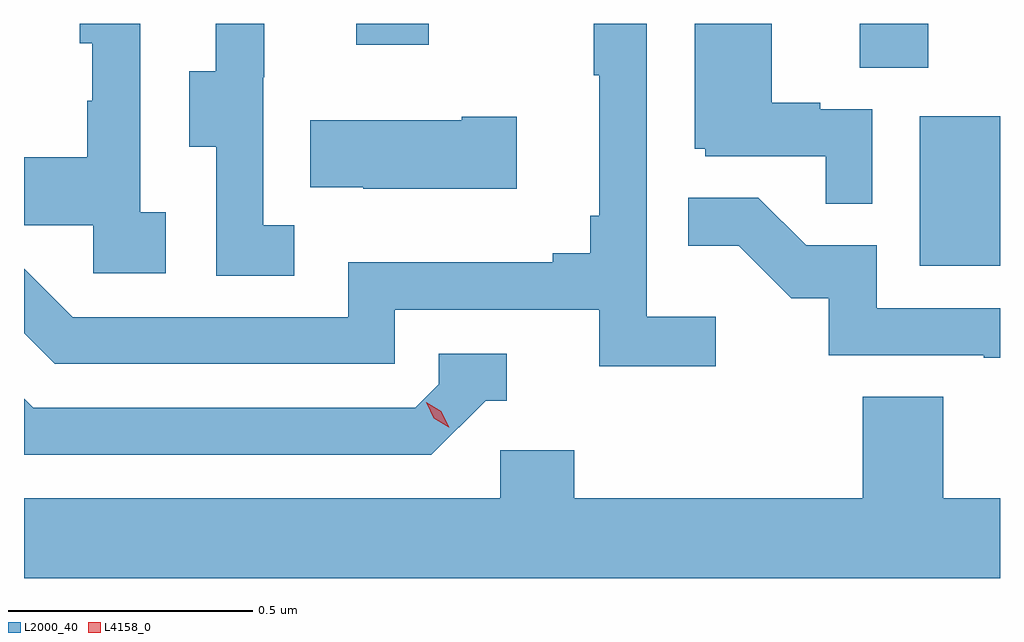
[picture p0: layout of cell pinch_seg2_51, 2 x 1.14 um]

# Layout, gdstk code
import gdstk
lib = gdstk.Library(unit=1e-6, precision=1e-09)
def R(c, l, rs):  # rectangles x0, y0, x1, y1
    for r in rs: c.add(gdstk.rectangle(r[:2], r[2:], *l))
def P(c, l, *ps):  # polygons
    for p in ps: c.add(gdstk.Polygon(p, *l))
L2000_40 = (2000, 40)
L4158_0 = (4158, 0)

pinch_seg2_51 = lib.new_cell('pinch_seg2_51')
R(pinch_seg2_51, L2000_40, [(1018.73,648.276,1018.894,648.583), (1018.607,648.682,1018.747,648.772), (1017.575,648.729,1017.723,648.772)])
P(pinch_seg2_51, L2000_40, [(1018.312,648.172),(1018.17,648.172),(1018.17,648.772),(1018.062,648.772),(1018.062,648.667),(1018.073,648.667),(1018.073,648.379),(1018.054,648.379),(1018.054,648.302),(1017.977,648.302),(1017.977,648.283),(1017.558,648.283),(1017.558,648.171),(1016.994,648.171),(1016.895,648.27),(1016.894,648.27),(1016.894,648.138),(1016.957,648.075),(1017.654,648.075),(1017.654,648.186),(1018.073,648.186),(1018.073,648.07),(1018.312,648.07)],
  [(1017.184,648.386),(1017.132,648.386),(1017.132,648.772),(1017.008,648.772),(1017.008,648.732),(1017.034,648.732),(1017.034,648.614),(1017.024,648.614),(1017.024,648.499),(1016.894,648.499),(1016.894,648.359),(1017.036,648.359),(1017.036,648.261),(1017.184,648.261)],
  [(1018.632,648.597),(1018.526,648.597),(1018.526,648.61),(1018.426,648.61),(1018.426,648.772),(1018.268,648.772),(1018.268,648.516),(1018.29,648.516),(1018.29,648.501),(1018.537,648.501),(1018.537,648.403),(1018.632,648.403)],
  [(1017.448,648.359),(1017.384,648.359),(1017.384,648.663),(1017.386,648.663),(1017.386,648.772),(1017.287,648.772),(1017.287,648.675),(1017.233,648.675),(1017.233,648.52),(1017.288,648.52),(1017.288,648.256),(1017.448,648.256)],
  [(1017.904,648.582),(1017.791,648.582),(1017.791,648.574),(1017.481,648.574),(1017.481,648.437),(1017.589,648.437),(1017.589,648.434),(1017.904,648.434)],
  [(1018.894,648.189),(1018.641,648.189),(1018.641,648.318),(1018.497,648.318),(1018.399,648.416),(1018.255,648.416),(1018.255,648.317),(1018.359,648.317),(1018.466,648.21),(1018.543,648.21),(1018.543,648.093),(1018.861,648.093),(1018.861,648.088),(1018.894,648.088)],
  [(1017.84,648),(1017.883,648),(1017.883,648.096),(1017.744,648.096),(1017.744,648.033),(1017.696,647.985),(1016.913,647.985),(1016.894,648.004),(1016.894,647.889),(1017.729,647.889)],
  [(1018.894,647.8),(1018.778,647.8),(1018.778,648.008),(1018.613,648.008),(1018.613,647.8),(1018.022,647.8),(1018.022,647.898),(1017.87,647.898),(1017.87,647.8),(1016.894,647.8),(1016.894,647.636),(1018.894,647.636)])
P(pinch_seg2_51, L4158_0, [(1017.764,647.945),(1017.734,647.964),(1017.718,647.997),(1017.718,647.997),(1017.718,647.997),(1017.749,647.978),(1017.765,647.945),(1017.765,647.945)])

lib.write_gds('pinch_seg2_51.gds')
